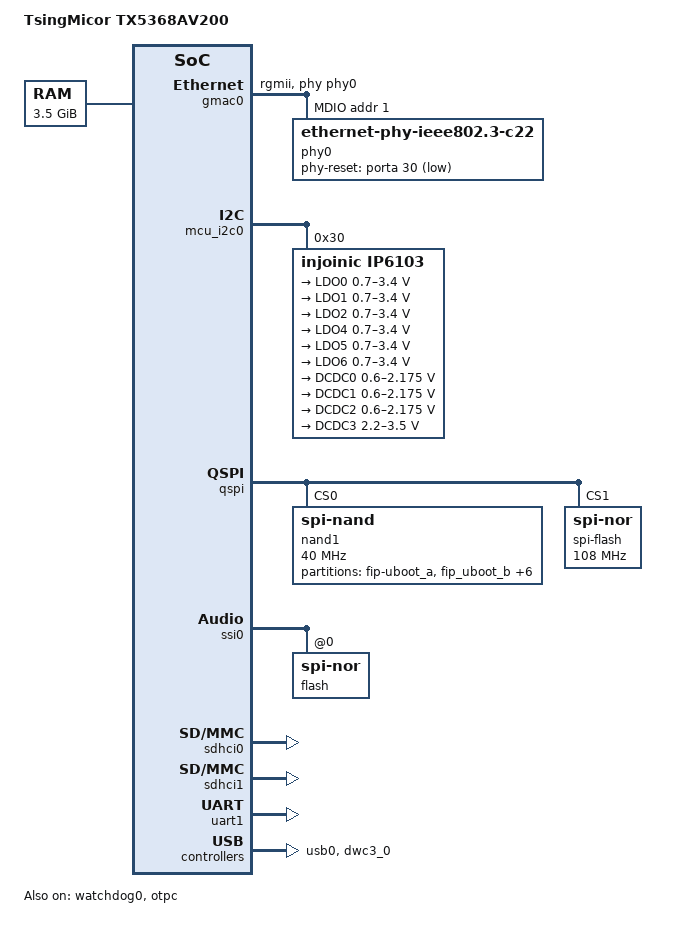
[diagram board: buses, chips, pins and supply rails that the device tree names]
// SPDX-License-Identifier: GPL-2.0+
/*
 * dts file for tsingmicro tx536
 *
 * Copyright 2022 Beijing Tsingmicro Intelligent Technology Co.,Ltd.
 *
 */

/dts-v1/;

#include "ts_tx536.dtsi"
#include "ts-tx536-clk.dtsi"
#include "ts-tx536-reset.dtsi"
#include "ts-tx536-pinctrl.dtsi"
#include <dt-bindings/input/input.h>
#include <dt-bindings/gpio/gpio.h>
#include <dt-bindings/phy/phy.h>

/ {
	model = "TsingMicor TX5368AV200";
	compatible = "ts,tx5368av200-box";

	bd_info {
		/* Hardware Board Name. */
		BOARD-MODEL = "TS-TX5368-BOX";
		/* Hardware Version Number. */
		BOARD-REVISION = "V1.0";
		/* Type - CPU - DDR - compile NO. - device NO. - Factory NO.-YYMM */
		BOARD-SERIAL = "BOX-A53-0202-0000-T001-2211";
	};

	aliases {
		/*ethernet0 = &gem3;*/
		/* gpio0 = &gpio; */
		/*i2c0 = &i2c0;*/
		/*i2c1 = &i2c1;*/
		mmc0 = &sdhci0;
		sd0 = &sdhci1;
		/*rtc0 = &rtc;*/
		serial0 = &uart1;
		/*serial1 = &uart1;*/
		/*serial2 = &dcc;*/
		spi0 = &qspi;
		usb0 = &usb0;
		spi1 = &ssi0;
	};

	chosen {
		bootargs = "earlycon";
		stdout-path = "serial0:115200n8";
	};

	memory@0 {
		device_type = "memory";
		reg = <0x0 0x00000000 0x0 0xe0000000>; //4GB
	};

};

&gmac0 {
	status = "okay";
	phy-handle = <&phy0>;
	phy-mode = "rgmii";
	pinctrl-names = "default";
	pinctrl-0 = <&gmac_pinctrl_1>;
	mdio {
		#address-cells = <0x1>;
		#size-cells = <0x0>;
		phy0: phy@0 {
			compatible = "ethernet-phy-ieee802.3-c22";
			device_type = "ethernet-phy";
			reg = <0x1>;
			phy-reset-gpios = <&porta 30 GPIO_ACTIVE_LOW>;
		};
	};
};

&gpio0 {
	status = "okay";
};

&gpio1 {
	status = "okay";
};

&gpio2 {
	status = "okay";
};

&gpio3 {
	status = "okay";
	pinctrl-names = "default";
	pinctrl-0 = <&mcu_gpio21_pinctrl &mcu_gpio22_pinctrl
		&mcu_gpio8_pinctrl &mcu_gpio9_pinctrl &mcu_gpio10_pinctrl>;
	/*devid1 = <&portd 21 GPIO_ACTIVE_LOW>;*/
	/*devid2 = <&portd 22 GPIO_ACTIVE_LOW>;*/
};

&pinctrl {
	status = "okay";
};

&mcu_pinctrl {
	status = "okay";
};

&mcu_i2c0 {
	status = "okay";
	pinctrl-names = "default";
	pinctrl-0 = <&mcu_i2c0_pinctrl>;
	ip6103@30 {
		compatible = "injoinic,ip6103";
		reg = <0x30>;
		voltage-regulators {
			LDO0: LDO0 {
			     regulator-name = "LDO0";
			     regulator-min-microvolt = <700000>;
			     regulator-max-microvolt = <3400000>;
			};

			LDO1: LDO1 {
			     regulator-name = "LDO1";
			     regulator-min-microvolt = <700000>;
			     regulator-max-microvolt = <3400000>;
			};

			LDO2: LDO2 {
			     regulator-name = "LDO2";
			     regulator-min-microvolt = <700000>;
			     regulator-max-microvolt = <3400000>;
			};

			LDO4: LDO4 {
			     regulator-name = "LDO4";
			     regulator-min-microvolt = <700000>;
			     regulator-max-microvolt = <3400000>;
			};

			LDO5: LDO5 {
			     regulator-name = "LDO5";
			     regulator-min-microvolt = <700000>;
			     regulator-max-microvolt = <3400000>;
			};

			LDO6: LDO6 {
			     regulator-name = "LDO6";
			     regulator-min-microvolt = <700000>;
			     regulator-max-microvolt = <3400000>;
			};

			DCDC0: DCDC0 {
			     regulator-name = "DCDC0";
			     regulator-min-microvolt = <600000>;
			     regulator-max-microvolt = <2175000>;
			};

			DCDC1: DCDC1 {
			     regulator-name = "DCDC1";
			     regulator-min-microvolt = <600000>;
			     regulator-max-microvolt = <2175000>;
			};

			DCDC2: DCDC2 {
			     regulator-name = "DCDC2";
			     regulator-min-microvolt = <600000>;
			     regulator-max-microvolt = <2175000>;
			};

			DCDC3: DCDC3 {
			     regulator-name = "DCDC3";
			     regulator-min-microvolt = <2200000>;
			     regulator-max-microvolt = <3500000>;
			};

		};
	};
};

&qspi {
	status = "okay";
	page-size = <256>;
	block-size = <16>;
	#address-cells = <1>;
	#size-cells = <0>;

	pinctrl-names = "default";
	#if 0
	pinctrl-0 = <&ospi0_pinctrl>;
	#else
	/* 3.3v needed */
	/* disabled nand0 */
	pinctrl-0 = <&ospi1_pinctrl &ospi0_gpio_pinctrl>;
	#endif

	nand1:spi-nand@0 {
		status = "okay";
		compatible = "spi-nand";
		reg = <0>; /* CS0 */
		//spi-max-frequency = <40000000>;
		spi-max-frequency = <40000000>;
		page-size = <2048>;
		block-size = <131072>;
		spi-rx-bus-width = <4>;
		spi-tx-bus-width = <4>;

		cdns,read-delay = <2>;
		cdns,tshsl-ns = <40>;
		cdns,tsd2d-ns = <50>;
		cdns,tchsh-ns = <3>;
		cdns,tslch-ns = <4>;

		partitions {
			compatible = "fixed-partitions";
			#address-cells = <1>;
			#size-cells = <1>;

			/* reserved for future boot direct from NAND flash
			 * (this would use the same layout as the 8MiB NOR flash)
			 */
			bootloader@000000 {
				label = "fip-uboot_a";
				reg = <0x000000 0x200000>;
			};

			bootloader_2@200000 {
				label = "fip_uboot_b";
				reg = <0x200000 0x200000>;
			};

			reserved@400000 {
				label = "reserved";
				reg = <0x400000 0x100000>;
			};

			hw_info@500000 {
				label = "hw_info";
				reg = <0x500000 0x100000>;
			};

			kernel@600000 {
				label = "kernel_a";
				reg = <0x600000 0x1000000>;
			};
			kernel_2@1600000 {
				label = "kernel_b";
				reg = <0x1600000 0x1000000>;
			};
			rootfs1@2600000 {
				label = "ubi_a";
				reg = <0x2600000 0x6d00000>;
			};

			rootfs2@9300000 {
				label = "ubi_b";
				reg = <0x9300000 0x6d00000>;
			};

		};
	};

	spi-flash@0 {
		compatible = "jedec,spi-nor";
		spi-max-frequency = <108000000>; /* Based on DC1 spec */
		reg = <1>; /* CS1 */
	};
};

&ssi0 {
	status = "okay";
	flash@0 {
		compatible = "jedec,spi-nor";
	};
};
/*
 *&rtc {
 *	status = "okay";
 *};
 */

/* SD1 with level shifter */
&sdhci0 {
	status = "okay";
};
&sdhci1 {
	status = "okay";
};

/*
 *&uart0 {
 *	status = "okay";
 *};
 */
&uart1 {
	status = "okay";
};

/* ULPI SMSC USB3320 */

&usb0 {
	status = "okay";
};

&dwc3_0 {
	status = "okay";
};

&watchdog0 {
	status = "okay";
	timeout-sec = <128>;
};

&nand0{
		nand-bus-width = <8>;
		nand-on-flash-bbt = <0>;
		nand-ecc-mode = "hw";
		nand-ecc-strength = <4>;
		nand-ecc-step-size = <512>;
		pinctrl-names = "default";
		pinctrl-0 = <&nf_pinctrl_0 &nf_pinctrl_1>;
		nand-max-frequency = <40000000>;
		/*nand-ecc-maximize;*/
		status = "disabled";

		bootloader@000000 {
			label = "fip-uboot_a";
			reg = <0x000000 0x200000>;
		};

		bootloader_2@200000 {
			label = "fip_uboot_b";
			reg = <0x200000 0x200000>;
		};

		reserved@400000 {
			label = "reserved";
			reg = <0x400000 0x100000>;
		};

		hw_info@500000 {
			label = "hw_info";
			reg = <0x500000 0x100000>;
		};

		kernel@600000 {
			label = "kernel_a";
			reg = <0x600000 0x1000000>;
		};
		kernel_2@1600000 {
			label = "kernel_b";
			reg = <0x1600000 0x1000000>;
		};
		ubi_a@2600000 {
			label = "ubi_a";
			reg = <0x2600000 0x6d00000>;
		};

		ubi_b@9300000 {
			label = "ubi_b";
			reg = <0x9300000 0x6d00000>;
		};
};

&otpc {
	status = "okay";
};
